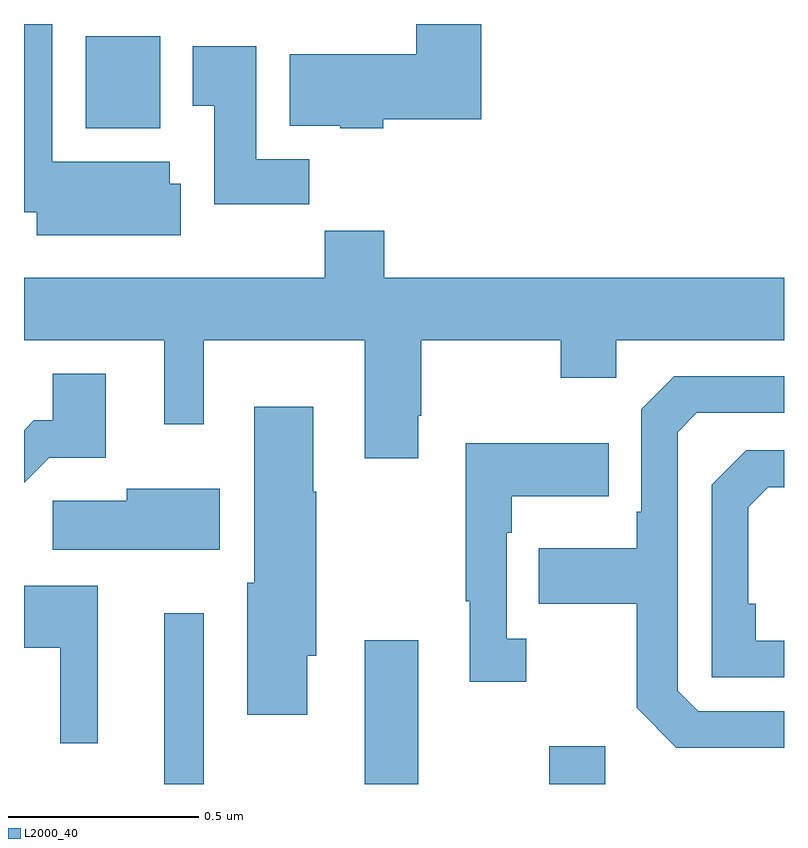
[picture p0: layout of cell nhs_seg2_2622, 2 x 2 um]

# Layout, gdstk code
import gdstk
lib = gdstk.Library(unit=1e-6, precision=1e-09)
def R(c, l, rs):  # rectangles x0, y0, x1, y1
    for r in rs: c.add(gdstk.rectangle(r[:2], r[2:], *l))
def P(c, l, *ps):  # polygons
    for p in ps: c.add(gdstk.Polygon(p, *l))
L2000_40 = (2000, 40)

nhs_seg2_2622 = lib.new_cell('nhs_seg2_2622')
R(nhs_seg2_2622, L2000_40, [(143.369,647.8,143.473,648.25), (143.897,647.8,144.037,648.178), (144.382,647.8,144.529,647.899), (143.162,649.526,143.359,649.768)])
P(nhs_seg2_2622, L2000_40, [(143.413,649.379),(143.383,649.379),(143.383,649.438),(143.074,649.438),(143.074,649.8),(143,649.8),(143,649.304),(143.033,649.304),(143.033,649.244),(143.413,649.244)],
  [(143.946,649.55),(144.203,649.55),(144.203,649.8),(144.032,649.8),(144.032,649.72),(143.699,649.72),(143.699,649.532),(143.832,649.532),(143.832,649.526),(143.946,649.526)],
  [(143.75,649.444),(143.611,649.444),(143.611,649.741),(143.444,649.741),(143.444,649.585),(143.501,649.585),(143.501,649.326),(143.75,649.326)],
  [(144.037,648.769),(144.045,648.769),(144.045,648.968),(144.412,648.968),(144.412,648.869),(144.558,648.869),(144.558,648.968),(145,648.968),(145,649.132),(143.948,649.132),(143.948,649.256),(143.791,649.256),(143.791,649.132),(143,649.132),(143,648.968),(143.369,648.968),(143.369,648.747),(143.473,648.747),(143.473,648.968),(143.897,648.968),(143.897,648.657),(144.037,648.657)],
  [(143.066,648.659),(143.215,648.659),(143.215,648.88),(143.075,648.88),(143.075,648.757),(143.026,648.757),(143,648.731),(143,648.593)],
  [(145,647.991),(144.774,647.991),(144.72,648.045),(144.72,648.726),(144.771,648.777),(145,648.777),(145,648.873),(144.711,648.873),(144.624,648.786),(144.624,648.517),(144.612,648.517),(144.612,648.421),(144.355,648.421),(144.355,648.274),(144.612,648.274),(144.612,648.001),(144.717,647.895),(145,647.895)],
  [(143.746,648.138),(143.769,648.138),(143.769,648.569),(143.761,648.569),(143.761,648.793),(143.606,648.793),(143.606,648.33),(143.588,648.33),(143.588,647.982),(143.746,647.982)],
  [(144.322,648.182),(144.27,648.182),(144.27,648.461),(144.283,648.461),(144.283,648.557),(144.539,648.557),(144.539,648.697),(144.162,648.697),(144.162,648.281),(144.173,648.281),(144.173,648.069),(144.322,648.069)],
  [(145,648.177),(144.926,648.177),(144.926,648.274),(144.906,648.274),(144.906,648.528),(144.959,648.581),(145,648.581),(145,648.678),(144.9,648.678),(144.81,648.588),(144.81,648.081),(145,648.081)],
  [(143.515,648.577),(143.27,648.577),(143.27,648.545),(143.076,648.545),(143.076,648.416),(143.515,648.416)],
  [(143.194,648.322),(143,648.322),(143,648.158),(143.096,648.158),(143.096,647.907),(143.194,647.907)])

lib.write_gds('nhs_seg2_2622.gds')
